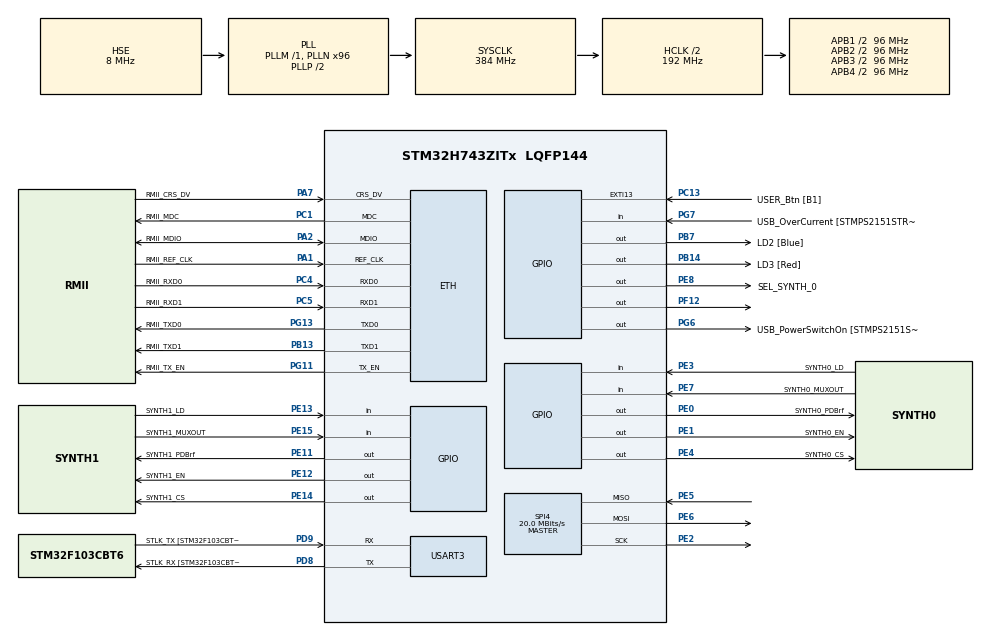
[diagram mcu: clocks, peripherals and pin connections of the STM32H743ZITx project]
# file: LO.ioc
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CORTEX_M7.CPU_DCache=Enabled
ETH.MediaInterface=HAL_ETH_RMII_MODE
FREERTOS.Tasks01=defaultTask,0,128,StartDefaultTask,Default,NULL
HRTIM.Periode_MASTER=192
LWIP.BSP.number=1
LWIP.LWIP_STATS=1
LWIP.MEM_SIZE=2048
LWIP.PBUF_POOL_BUFSIZE=2048
LWIP.Version=v2.0.3_Cube
LWIP0.BSP.STBoard=false
LWIP0.BSP.api=BSP_COMPONENT_DRIVER
LWIP0.BSP.component=LAN8742
LWIP0.BSP.instance=LAN8742
LWIP0.BSP.name=Driver_PHY
LWIP0.BSP.solution=LAN8742
Mcu.Family=STM32H7
Mcu.Name=STM32H743ZITx
Mcu.Package=LQFP144
NVIC.ETH_IRQn=true\:5\:0\:false\:false\:true\:true\:true
NVIC.HRTIM1_Master_IRQn=true\:5\:0\:false\:false\:true\:true\:true
NVIC.PriorityGroup=NVIC_PRIORITYGROUP_4
NVIC.TIM1_UP_IRQn=true\:5\:0\:false\:false\:true\:true\:true
NVIC.TIM2_IRQn=true\:0\:0\:false\:false\:true\:false\:false
NVIC.TimeBase=TIM2_IRQn
NVIC.TimeBaseIP=TIM2
PA1.GPIO_Label=RMII_REF_CLK
PA1.Mode=RMII
PA1.Signal=ETH_REF_CLK
PA13.GPIO_Label=TMS
PA13.Mode=Serial_Wire
PA13.Signal=SYS_JTMS-SWDIO
PA14.GPIO_Label=TCK
PA14.Mode=Serial_Wire
PA14.Signal=SYS_JTCK-SWCLK
PA2.GPIO_Label=RMII_MDIO
PA2.Mode=RMII
PA2.Signal=ETH_MDIO
PA7.GPIO_Label=RMII_CRS_DV
PA7.Mode=RMII
PA7.Signal=ETH_CRS_DV
PB13.GPIO_Label=RMII_TXD1
PB13.Mode=RMII
PB13.Signal=ETH_TXD1
PB14.GPIO_Label=LD3 [Red]
PB14.PinState=GPIO_PIN_SET
PB14.Signal=GPIO_Output
PB7.GPIO_Label=LD2 [Blue]
PB7.PinState=GPIO_PIN_SET
PB7.Signal=GPIO_Output
PC1.GPIO_Label=RMII_MDC
PC1.Mode=RMII
PC1.Signal=ETH_MDC
PC13.GPIO_Label=USER_Btn [B1]
PC13.Signal=GPXTI13
PC4.GPIO_Label=RMII_RXD0
PC4.Mode=RMII
PC4.Signal=ETH_RXD0
PC5.GPIO_Label=RMII_RXD1
PC5.Mode=RMII
PC5.Signal=ETH_RXD1
PD8.GPIO_Label=STLK_RX [STM32F103CBT6_PA3]
PD8.Mode=Asynchronous
PD8.Signal=USART3_TX
PD9.GPIO_Label=STLK_TX [STM32F103CBT6_PA2]
PD9.Mode=Asynchronous
PD9.Signal=USART3_RX
PE0.GPIO_Label=SYNTH0_PDBrf
PE0.Signal=GPIO_Output
PE1.GPIO_Label=SYNTH0_EN
PE1.Signal=GPIO_Output
PE11.GPIO_Label=SYNTH1_PDBrf
PE11.Signal=GPIO_Output
PE12.GPIO_Label=SYNTH1_EN
PE12.Signal=GPIO_Output
PE13.GPIO_Label=SYNTH1_LD
PE13.Signal=GPIO_Input
PE14.GPIO_Label=SYNTH1_CS
PE14.Signal=GPIO_Output
PE15.GPIO_Label=SYNTH1_MUXOUT
PE15.Signal=GPIO_Input
PE2.GPIO_PuPd=GPIO_PULLDOWN
PE2.Mode=Full_Duplex_Master
PE2.Signal=SPI4_SCK
PE3.GPIO_Label=SYNTH0_LD
PE3.Signal=GPIO_Input
PE4.GPIO_Label=SYNTH0_CS
PE4.Signal=GPIO_Output
PE5.Mode=Full_Duplex_Master
PE5.Signal=SPI4_MISO
PE6.Mode=Full_Duplex_Master
PE6.Signal=SPI4_MOSI
PE7.GPIO_Label=SYNTH0_MUXOUT
PE7.Signal=GPIO_Input
PE8.GPIO_Label=SEL_SYNTH_0
PE8.Signal=GPIO_Output
PF12.Signal=GPIO_Output
PG11.GPIO_Label=RMII_TX_EN
PG11.Mode=RMII
PG11.Signal=ETH_TX_EN
PG13.GPIO_Label=RMII_TXD0
PG13.Mode=RMII
PG13.Signal=ETH_TXD0
PG6.GPIO_Label=USB_PowerSwitchOn [STMPS2151STR_EN]
PG6.Signal=GPIO_Output
PG7.GPIO_Label=USB_OverCurrent [STMPS2151STR_FAULT]
PG7.Signal=GPIO_Input
PH0-OSC_IN.GPIO_Label=MCO
PH0-OSC_IN.Mode=HSE-External-Oscillator
PH0-OSC_IN.Signal=RCC_OSC_IN
PH1-OSC_OUT.Mode=HSE-External-Oscillator
PH1-OSC_OUT.Signal=RCC_OSC_OUT
ProjectManager.HeapSize=0x200
ProjectManager.StackSize=0x400
ProjectManager.TargetToolchain=SW4STM32
RCC.48MHZClocksFreq_Value=24000000
RCC.ADCFreq_Value=80000000
RCC.AHBFreq_Value=216000000
RCC.APB1CLKDivider=RCC_HCLK_DIV4
RCC.APB1Freq_Value=96000000
RCC.APB1TimFreq_Value=108000000
RCC.APB2CLKDivider=RCC_HCLK_DIV2
RCC.APB2Freq_Value=96000000
RCC.APB2TimFreq_Value=216000000
RCC.APB3Freq_Value=96000000
RCC.APB4Freq_Value=96000000
RCC.CortexFreq_Value=384000000
RCC.D1PPRE=RCC_APB3_DIV2
RCC.D2PPRE1=RCC_APB1_DIV2
RCC.D2PPRE2=RCC_APB2_DIV2
RCC.D3PPRE=RCC_APB4_DIV2
RCC.DIVM1=1
RCC.DIVM2=1
RCC.DIVN1=96
RCC.DIVN2=20
RCC.DIVQ1=4
RCC.DIVQ2=4
RCC.HCLKFreq_Value=192000000
RCC.HPRE=RCC_HCLK_DIV2
RCC.HSE_VALUE=8000000
RCC.HSI_VALUE=64000000
RCC.PLLM=25
RCC.PLLMUL=RCC_PLL_MUL9
RCC.PLLN=432
RCC.PLLQ=9
RCC.PLLSourceVirtual=RCC_PLLSOURCE_HSE
RCC.PRESCALERUSB=RCC_USBCLKSOURCE_PLL_DIV1_5
RCC.SYSCLKFreq_VALUE=384000000
RCC.SYSCLKSource=RCC_SYSCLKSOURCE_PLLCLK
RCC.SYSCLKSourceVirtual=RCC_SYSCLKSOURCE_PLLCLK
RCC.Spi45ClockSelection=RCC_SPI45CLKSOURCE_PLL2
RCC.USBFreq_Value=192000000
RCC.VCOOutputFreq_Value=432000000
SPI4.BaudRatePrescaler=SPI_BAUDRATEPRESCALER_2
SPI4.CLKPhase=SPI_PHASE_1EDGE
SPI4.CLKPolarity=SPI_POLARITY_LOW
SPI4.CalculateBaudRate=20.0 MBits/s
SPI4.DataSize=SPI_DATASIZE_8BIT
SPI4.Direction=SPI_DIRECTION_2LINES
SPI4.FifoThreshold=SPI_FIFO_THRESHOLD_04DATA
SPI4.Mode=SPI_MODE_MASTER
SPI4.NSSPMode=SPI_NSS_PULSE_DISABLE
SPI4.VirtualType=VM_MASTER
TIM1.CounterMode=TIM_COUNTERMODE_DOWN
TIM1.Period=10 - 1
TIM1.Prescaler=1920 - 1
USART3.VirtualMode-Asynchronous=VM_ASYNC
VP_FREERTOS_VS_ENABLE.Mode=Enabled
VP_HRTIM_VS_hrtimMasterTimerNoOutput.Mode=MasterTimer
VP_LWIP_VS_Enabled.Mode=Enabled
VP_MBEDTLS_VS_MBEDTLS.Mode=Enabled
VP_SYS_VS_tim2.Mode=TIM2
VP_SYS_V_PVD_IN.Mode=Mode_PVD_Int
VP_TIM1_VS_ClockSourceINT.Mode=Internal
board=NUCLEO-H743ZI

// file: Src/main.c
/**
  ******************************************************************************
  * @file           : main.c
  * @brief          : Main program body
  ******************************************************************************
  * This notice applies to any and all portions of this file
  * that are not between comment pairs USER CODE BEGIN and
  * USER CODE END. Other portions of this file, whether
  * inserted by the user or by software development tools
  * are owned by their respective copyright owners.
  *
  * Copyright (c) 2019 STMicroelectronics International N.V.
  * All rights reserved.
  *
  * Redistribution and use in source and binary forms, with or without
  * modification, are permitted, provided that the following conditions are met:
  *
  * 1. Redistribution of source code must retain the above copyright notice,
  *    this list of conditions and the following disclaimer.
  * 2. Redistributions in binary form must reproduce the above copyright notice,
  *    this list of conditions and the following disclaimer in the documentation
  *    and/or other materials provided with the distribution.
  * 3. Neither the name of STMicroelectronics nor the names of other
  *    contributors to this software may be used to endorse or promote products
  *    derived from this software without specific written permission.
  * 4. This software, including modifications and/or derivative works of this
  *    software, must execute solely and exclusively on microcontroller or
  *    microprocessor devices manufactured by or for STMicroelectronics.
  * 5. Redistribution and use of this software other than as permitted under
  *    this license is void and will automatically terminate your rights under
  *    this license.
  *
  * THIS SOFTWARE IS PROVIDED BY STMICROELECTRONICS AND CONTRIBUTORS "AS IS"
  * AND ANY EXPRESS, IMPLIED OR STATUTORY WARRANTIES, INCLUDING, BUT NOT
  * LIMITED TO, THE IMPLIED WARRANTIES OF MERCHANTABILITY, FITNESS FOR A
  * PARTICULAR PURPOSE AND NON-INFRINGEMENT OF THIRD PARTY INTELLECTUAL PROPERTY
  * RIGHTS ARE DISCLAIMED TO THE FULLEST EXTENT PERMITTED BY LAW. IN NO EVENT
  * SHALL STMICROELECTRONICS OR CONTRIBUTORS BE LIABLE FOR ANY DIRECT, INDIRECT,
  * INCIDENTAL, SPECIAL, EXEMPLARY, OR CONSEQUENTIAL DAMAGES (INCLUDING, BUT NOT
  * LIMITED TO, PROCUREMENT OF SUBSTITUTE GOODS OR SERVICES; LOSS OF USE, DATA,
  * OR PROFITS; OR BUSINESS INTERRUPTION) HOWEVER CAUSED AND ON ANY THEORY OF
  * LIABILITY, WHETHER IN CONTRACT, STRICT LIABILITY, OR TORT (INCLUDING
  * NEGLIGENCE OR OTHERWISE) ARISING IN ANY WAY OUT OF THE USE OF THIS SOFTWARE,
  * EVEN IF ADVISED OF THE POSSIBILITY OF SUCH DAMAGE.
  *
  ******************************************************************************
  */
#include "main.h"
#include "stm32h7xx_hal.h"
#include "cmsis_os.h"
#include "hrtim.h"
#include "mbedtls.h"
#include "spi.h"
#include "tim.h"
#include "usart.h"
#include "gpio.h"

/* USER CODE BEGIN Includes */
#include "synthesizer_driver.h"
/* USER CODE END Includes */

/* USER CODE BEGIN PV */
/* Private variables ---------------------------------------------------------*/

/* USER CODE END PV */

void SystemClock_Config(void);
void MX_FREERTOS_Init(void);

/* USER CODE BEGIN PFP */
/* Private function prototypes -----------------------------------------------*/
void MPU_Config(void);
/* USER CODE END PFP */

int main(void)
{
  /* USER CODE BEGIN 1 */
   MPU_Config();
  /* USER CODE END 1 */

  /* Enable D-Cache-------------------------------------------------------------*/
  SCB_EnableDCache();

  /* MCU Configuration----------------------------------------------------------*/

  /* Reset of all peripherals, Initializes the Flash interface and the Systick. */
  HAL_Init();

  /* Configure the system clock */
  SystemClock_Config();

  /* Initialize all configured peripherals */
  MX_GPIO_Init();
  MX_USART3_UART_Init();
  MX_TIM1_Init();
  MX_SPI4_Init();
  MX_HRTIM_Init();
  /* USER CODE BEGIN 2 */
  Is_counting = false;

  //HAL_HRTIM_SimpleBaseStart( &hhrtim, HRTIM_TIMERINDEX_MASTER );
  //HAL_HRTIM_SimpleBaseStart_IT( &hhrtim, HRTIM_TIMERINDEX_MASTER );
  init_synth();
  HAL_TIM_Base_Start( &htim1 );

  while ( 1 )
  {
    uint8_t i = 0;

    for ( i = 0; i < NUM_FREQUENCIES; i++ )
    {
      //while ( HAL_GPIO_ReadPin( GPIOE, SYNTH0_LD_Pin ) == 0 );
      set_synth_frequency( Frequencies_mhz[ i ], Synth_0_ss_id );
      set_synth_frequency( Frequencies_mhz[ i ], Synth_1_ss_id );

                uint32_t j = 0;
          while ( j < 10000 )
          {
            j++;
          }
    }
  }

  //set_synth_frequency( 3400, Synth_0_ss_id );
  //set_synth_frequency( 3400, Synth_1_ss_id );

  //HAL_HRTIM_SimpleBaseStart_IT( &hhrtim, HRTIM_TIMERINDEX_MASTER );
  /*
  while ( 1 )
  {
    while ( Is_counting );
    Counter_us = 500;
    Is_counting = true;
  }
  */

  /* USER CODE END 2 */

  /* Call init function for freertos objects (in freertos.c) */
  MX_FREERTOS_Init();

  /* Start scheduler */
  osKernelStart();

  /* We should never get here as control is now taken by the scheduler */

  /* Infinite loop */
  while (1)
  {
  }

}

void SystemClock_Config(void)
{

  RCC_OscInitTypeDef RCC_OscInitStruct;
  RCC_ClkInitTypeDef RCC_ClkInitStruct;
  RCC_PeriphCLKInitTypeDef PeriphClkInitStruct;

    /**Supply configuration update enable
    */
  MODIFY_REG(PWR->CR3, PWR_CR3_SCUEN, 0);

    /**Configure the main internal regulator output voltage
    */
  __HAL_PWR_VOLTAGESCALING_CONFIG(PWR_REGULATOR_VOLTAGE_SCALE1);

  while ((PWR->D3CR & (PWR_D3CR_VOSRDY)) != PWR_D3CR_VOSRDY)
  {

  }
    /**Macro to configure the PLL clock source
    */
  __HAL_RCC_PLL_PLLSOURCE_CONFIG(RCC_PLLSOURCE_HSE);

    /**Initializes the CPU, AHB and APB busses clocks
    */
  RCC_OscInitStruct.OscillatorType = RCC_OSCILLATORTYPE_HSE;
  RCC_OscInitStruct.HSEState = RCC_HSE_ON;
  RCC_OscInitStruct.PLL.PLLState = RCC_PLL_ON;
  RCC_OscInitStruct.PLL.PLLSource = RCC_PLLSOURCE_HSE;
  RCC_OscInitStruct.PLL.PLLM = 1;
  RCC_OscInitStruct.PLL.PLLN = 96;
  RCC_OscInitStruct.PLL.PLLP = 2;
  RCC_OscInitStruct.PLL.PLLQ = 4;
  RCC_OscInitStruct.PLL.PLLR = 2;
  RCC_OscInitStruct.PLL.PLLRGE = RCC_PLL1VCIRANGE_3;
  RCC_OscInitStruct.PLL.PLLVCOSEL = RCC_PLL1VCOWIDE;
  RCC_OscInitStruct.PLL.PLLFRACN = 0;
  if (HAL_RCC_OscConfig(&RCC_OscInitStruct) != HAL_OK)
  {
    _Error_Handler(__FILE__, __LINE__);
  }

    /**Initializes the CPU, AHB and APB busses clocks
    */
  RCC_ClkInitStruct.ClockType = RCC_CLOCKTYPE_HCLK|RCC_CLOCKTYPE_SYSCLK
                              |RCC_CLOCKTYPE_PCLK1|RCC_CLOCKTYPE_PCLK2
                              |RCC_CLOCKTYPE_D3PCLK1|RCC_CLOCKTYPE_D1PCLK1;
  RCC_ClkInitStruct.SYSCLKSource = RCC_SYSCLKSOURCE_PLLCLK;
  RCC_ClkInitStruct.SYSCLKDivider = RCC_SYSCLK_DIV1;
  RCC_ClkInitStruct.AHBCLKDivider = RCC_HCLK_DIV2;
  RCC_ClkInitStruct.APB3CLKDivider = RCC_APB3_DIV2;
  RCC_ClkInitStruct.APB1CLKDivider = RCC_APB1_DIV2;
  RCC_ClkInitStruct.APB2CLKDivider = RCC_APB2_DIV2;
  RCC_ClkInitStruct.APB4CLKDivider = RCC_APB4_DIV2;

  if (HAL_RCC_ClockConfig(&RCC_ClkInitStruct, FLASH_LATENCY_2) != HAL_OK)
  {
    _Error_Handler(__FILE__, __LINE__);
  }

  PeriphClkInitStruct.PeriphClockSelection = RCC_PERIPHCLK_HRTIM1|RCC_PERIPHCLK_USART3
                              |RCC_PERIPHCLK_SPI4;
  PeriphClkInitStruct.PLL2.PLL2M = 1;
  PeriphClkInitStruct.PLL2.PLL2N = 20;
  PeriphClkInitStruct.PLL2.PLL2P = 2;
  PeriphClkInitStruct.PLL2.PLL2Q = 4;
  PeriphClkInitStruct.PLL2.PLL2R = 2;
  PeriphClkInitStruct.PLL2.PLL2RGE = RCC_PLL2VCIRANGE_3;
  PeriphClkInitStruct.PLL2.PLL2VCOSEL = RCC_PLL2VCOMEDIUM;
  PeriphClkInitStruct.PLL2.PLL2FRACN = 0;
  PeriphClkInitStruct.Spi45ClockSelection = RCC_SPI45CLKSOURCE_PLL2;
  PeriphClkInitStruct.Usart234578ClockSelection = RCC_USART234578CLKSOURCE_D2PCLK1;
  PeriphClkInitStruct.Hrtim1ClockSelection = RCC_HRTIM1CLK_TIMCLK;
  if (HAL_RCCEx_PeriphCLKConfig(&PeriphClkInitStruct) != HAL_OK)
  {
    _Error_Handler(__FILE__, __LINE__);
  }

    /**Configure the Systick interrupt time
    */
  HAL_SYSTICK_Config(SystemCoreClock/1000);

    /**Configure the Systick
    */
  HAL_SYSTICK_CLKSourceConfig(SYSTICK_CLKSOURCE_HCLK);

  /* SysTick_IRQn interrupt configuration */
  HAL_NVIC_SetPriority(SysTick_IRQn, 15, 0);
}

/* USER CODE BEGIN 4 */
/**
  * @brief  Configure the MPU attributes
  * @param  None
  * @retval None
  */

void MPU_Config(void)
{
  MPU_Region_InitTypeDef MPU_InitStruct;

  /* Disables the MPU */
  HAL_MPU_Disable();
  /**Initializes and configures the Region and the memory to be protected
  */
  MPU_InitStruct.Enable = MPU_REGION_ENABLE;
  MPU_InitStruct.Number = MPU_REGION_NUMBER2;
  MPU_InitStruct.BaseAddress = 0x30040000;
  MPU_InitStruct.Size = MPU_REGION_SIZE_256B;
  MPU_InitStruct.SubRegionDisable = 0x0;
  MPU_InitStruct.TypeExtField = MPU_TEX_LEVEL0;
  MPU_InitStruct.AccessPermission = MPU_REGION_FULL_ACCESS;
  MPU_InitStruct.DisableExec = MPU_INSTRUCTION_ACCESS_ENABLE;
  MPU_InitStruct.IsShareable = MPU_ACCESS_NOT_SHAREABLE;
  MPU_InitStruct.IsCacheable = MPU_ACCESS_NOT_CACHEABLE;
  MPU_InitStruct.IsBufferable = MPU_ACCESS_BUFFERABLE;

  HAL_MPU_ConfigRegion(&MPU_InitStruct);

  /**Initializes and configures the Region and the memory to be protected
  */
  MPU_InitStruct.Enable = MPU_REGION_ENABLE;
  MPU_InitStruct.Number = MPU_REGION_NUMBER1;
  MPU_InitStruct.BaseAddress = 0x30044000;
  MPU_InitStruct.Size = MPU_REGION_SIZE_16KB;
  MPU_InitStruct.SubRegionDisable = 0x0;
  MPU_InitStruct.TypeExtField = MPU_TEX_LEVEL0;
  MPU_InitStruct.AccessPermission = MPU_REGION_FULL_ACCESS;
  MPU_InitStruct.DisableExec = MPU_INSTRUCTION_ACCESS_ENABLE;
  MPU_InitStruct.IsShareable = MPU_ACCESS_NOT_SHAREABLE;
  MPU_InitStruct.IsCacheable = MPU_ACCESS_CACHEABLE;
  MPU_InitStruct.IsBufferable = MPU_ACCESS_NOT_BUFFERABLE;

  HAL_MPU_ConfigRegion(&MPU_InitStruct);

  MPU_InitStruct.Enable = MPU_REGION_ENABLE;
  MPU_InitStruct.Number = MPU_REGION_NUMBER0;
  MPU_InitStruct.BaseAddress = 0x30040000;
  MPU_InitStruct.Size = MPU_REGION_SIZE_16KB;
  MPU_InitStruct.SubRegionDisable = 0x0;
  MPU_InitStruct.TypeExtField = MPU_TEX_LEVEL1;
  MPU_InitStruct.AccessPermission = MPU_REGION_FULL_ACCESS;
  MPU_InitStruct.DisableExec = MPU_INSTRUCTION_ACCESS_ENABLE;
  MPU_InitStruct.IsShareable = MPU_ACCESS_NOT_SHAREABLE;
  MPU_InitStruct.IsCacheable = MPU_ACCESS_NOT_CACHEABLE;
  MPU_InitStruct.IsBufferable = MPU_ACCESS_NOT_BUFFERABLE;

  HAL_MPU_ConfigRegion(&MPU_InitStruct);

  /* Enables the MPU */
  HAL_MPU_Enable(MPU_PRIVILEGED_DEFAULT);
}
/* USER CODE END 4 */

void HAL_TIM_PeriodElapsedCallback(TIM_HandleTypeDef *htim)
{
  if (htim->Instance == TIM2) {
    HAL_IncTick();
  }
}

void _Error_Handler(char *file, int line)
{
  while(1)
  {
  }
}

/************************ (C) COPYRIGHT STMicroelectronics *****END OF FILE****/

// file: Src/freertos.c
/* USER CODE BEGIN Header */
/**
  ******************************************************************************
  * File Name          : freertos.c
  * Description        : Code for freertos applications
  ******************************************************************************
  * This notice applies to any and all portions of this file
  * that are not between comment pairs USER CODE BEGIN and
  * USER CODE END. Other portions of this file, whether
  * inserted by the user or by software development tools
  * are owned by their respective copyright owners.
  *
  * Copyright (c) 2018 STMicroelectronics International N.V.
  * All rights reserved.
  *
  * Redistribution and use in source and binary forms, with or without
  * modification, are permitted, provided that the following conditions are met:
  *
  * 1. Redistribution of source code must retain the above copyright notice,
  *    this list of conditions and the following disclaimer.
  * 2. Redistributions in binary form must reproduce the above copyright notice,
  *    this list of conditions and the following disclaimer in the documentation
  *    and/or other materials provided with the distribution.
  * 3. Neither the name of STMicroelectronics nor the names of other
  *    contributors to this software may be used to endorse or promote products
  *    derived from this software without specific written permission.
  * 4. This software, including modifications and/or derivative works of this
  *    software, must execute solely and exclusively on microcontroller or
  *    microprocessor devices manufactured by or for STMicroelectronics.
  * 5. Redistribution and use of this software other than as permitted under
  *    this license is void and will automatically terminate your rights under
  *    this license.
  *
  * THIS SOFTWARE IS PROVIDED BY STMICROELECTRONICS AND CONTRIBUTORS "AS IS"
  * AND ANY EXPRESS, IMPLIED OR STATUTORY WARRANTIES, INCLUDING, BUT NOT
  * LIMITED TO, THE IMPLIED WARRANTIES OF MERCHANTABILITY, FITNESS FOR A
  * PARTICULAR PURPOSE AND NON-INFRINGEMENT OF THIRD PARTY INTELLECTUAL PROPERTY
  * RIGHTS ARE DISCLAIMED TO THE FULLEST EXTENT PERMITTED BY LAW. IN NO EVENT
  * SHALL STMICROELECTRONICS OR CONTRIBUTORS BE LIABLE FOR ANY DIRECT, INDIRECT,
  * INCIDENTAL, SPECIAL, EXEMPLARY, OR CONSEQUENTIAL DAMAGES (INCLUDING, BUT NOT
  * LIMITED TO, PROCUREMENT OF SUBSTITUTE GOODS OR SERVICES; LOSS OF USE, DATA,
  * OR PROFITS; OR BUSINESS INTERRUPTION) HOWEVER CAUSED AND ON ANY THEORY OF
  * LIABILITY, WHETHER IN CONTRACT, STRICT LIABILITY, OR TORT (INCLUDING
  * NEGLIGENCE OR OTHERWISE) ARISING IN ANY WAY OUT OF THE USE OF THIS SOFTWARE,
  * EVEN IF ADVISED OF THE POSSIBILITY OF SUCH DAMAGE.
  *
  ******************************************************************************
  */
/* USER CODE END Header */

#include "FreeRTOS.h"
#include "task.h"
#include "main.h"
#include "cmsis_os.h"

/* USER CODE BEGIN Includes */
#include "lwip.h"
#include "lwip/apps/mqtt.h"
#include <string.h>
#include "tim.h"
#include "trigger.h"
#include "synthesizer_driver.h"
#include "hrtim.h"
/* USER CODE END Includes */

/* USER CODE BEGIN PTD */
ip4_addr_t Mcfly_broker_addr;
mqtt_client_t* Mcfly_broker;

/* USER CODE END PTD */

/* USER CODE BEGIN Variables */
uint8_t Trigger_flag = 0;
const char* Phase_idx;
QueueHandle_t Cell_sequence_q;
/* USER CODE END Variables */
osThreadId defaultTaskHandle;

/* USER CODE BEGIN FunctionPrototypes */
void example_do_connect(mqtt_client_t *client);
static void mqtt_connection_cb(mqtt_client_t *client, void *arg, mqtt_connection_status_t status);
static void mqtt_sub_request_cb(void *arg, err_t result);
static void mqtt_incoming_publish_cb(void *arg, const char *topic, u32_t tot_len);
static void mqtt_incoming_data_cb(void *arg, const u8_t *data, u16_t len, u8_t flags);
void example_publish(mqtt_client_t *client, void *arg);
static void mqtt_pub_request_cb(void *arg, err_t result);

void MQTTTask(void const * argument);
void Synth_sequence_task( void const * argument );

void one_shot_delay_us( uint32_t Delay_us );
/* USER CODE END FunctionPrototypes */

void StartDefaultTask(void const * argument);

extern void MX_MBEDTLS_Init(void);
extern void MX_LWIP_Init(void);
void MX_FREERTOS_Init(void); /* (MISRA C 2004 rule 8.1) */

void MX_FREERTOS_Init(void) {
  /* USER CODE BEGIN Init */
  IP4_ADDR( &Mcfly_broker_addr, 192, 168, 0, 10 );
  /* USER CODE END Init */

  /* Create the thread(s) */
  /* definition and creation of defaultTask */
  //osThreadDef(defaultTask, StartDefaultTask, osPriorityNormal, 0, 128);
  //defaultTaskHandle = osThreadCreate(osThread(defaultTask), NULL);

  /* USER CODE BEGIN RTOS_THREADS */
  /* add threads, ... */
  osThreadDef(MQTT, MQTTTask, osPriorityNormal, 0, 128 * 4 );
  MQTTTaskHandle = osThreadCreate(osThread(MQTT), NULL);

  //osThreadDef(Synth_sequence, Synth_sequence_task, osPriorityNormal, 0, 128 * 4 );
  //SynthSequenceTaskHandle = osThreadCreate(osThread(Synth_sequence), NULL);
  /* USER CODE END RTOS_THREADS */

}

void StartDefaultTask(void const * argument)
{
  /* Up to user define the empty MX_MBEDTLS_Init() function located in mbedtls.c file */
  MX_MBEDTLS_Init();

  /* MX_LWIP_Init() is generated within mbedtls_net_init() function in net_cockets.c file */
  /* Up to user to call mbedtls_net_init() function in MBEDTLS initialization step */

  /* USER CODE BEGIN StartDefaultTask */
  //MX_LWIP_Init();

  //IP4_ADDR( &client1IpAddr, 192, 168, 0, 10 );
  //mqtt_client_t client1;
  //example_do_connect( &client1 );
  //example_publish( &client1, NULL);
  /* Infinite loop */
  for(;;)
  {
    osDelay(1);
  }
  /* USER CODE END StartDefaultTask */
}

/* USER CODE BEGIN Application */
void MQTTTask(void const * argument)
{
  MX_LWIP_Init();

  Mcfly_broker = mqtt_client_new();
  if ( Mcfly_broker == NULL )
  {
    printf("MQTT client NULL.\n");
  }
  example_do_connect( Mcfly_broker );
  Cell_sequence_q = xQueueCreate( 1, sizeof( uint8_t ) );
  //HAL_HRTIM_SimpleBaseStart_IT( &hhrtim, HRTIM_TIMERINDEX_MASTER );
  /* Infinite loop */
  for(;;)
  {
    if ( Trigger_flag == 1 )
    {
      //HAL_TIM_Base_Start_IT( &htim1 );
      //vTaskResume( SynthSequenceTaskHandle );
      //vTaskSuspend( MQTTTaskHandle );

      int err = mqtt_publish(Mcfly_broker, "/Sensor/Freq", Phase_idx, strlen( Phase_idx ), 2, 0, mqtt_pub_request_cb, NULL);
      if(err != ERR_OK) {
        printf("Publish err: %d\n", err);
      }
      Trigger_flag = 0;
      example_do_connect( Mcfly_broker );
    }
    //example_publish( client1, NULL);
    //osDelay(5000);
  }
  /* USER CODE END StartDefaultTask */
}

void example_do_connect(mqtt_client_t *client)
{
  struct mqtt_connect_client_info_t ci;
  err_t err;

  /* Setup an empty client info structure */
  memset(&ci, 0, sizeof(ci));

  /* Minimal amount of information required is client identifier, so set it here */
  ci.client_id = "lwip_test";

  /* Initiate client and connect to server, if this fails immediately an error code is returned
     otherwise mqtt_connection_cb will be called with connection result after attempting
     to establish a connection with the server.
     For now MQTT version 3.1.1 is always used */

  err = mqtt_client_connect(client, &Mcfly_broker_addr, MQTT_PORT, mqtt_connection_cb, 0, &ci);

  /* For now just print the result code if something goes wrong */
  while(err != ERR_OK) {
    printf("mqtt_connect return %d\n", err);
    err = mqtt_client_connect(client, &Mcfly_broker_addr, MQTT_PORT, mqtt_connection_cb, 0, &ci);
  }
}

static void mqtt_connection_cb(mqtt_client_t *client, void *arg, mqtt_connection_status_t status)
{
  err_t err;
  if(status == MQTT_CONNECT_ACCEPTED) {
    printf("mqtt_connection_cb: Successfully connected\n");

    /* Setup callback for incoming publish requests */
    mqtt_set_inpub_callback(client, mqtt_incoming_publish_cb, mqtt_incoming_data_cb, arg);

    /* Subscribe to a topic named "/Sensor/Density/Trigger" with QoS level 0, call mqtt_sub_request_cb with result */
    err = mqtt_subscribe(client, "/Sensor/Density/Trigger", 0, mqtt_sub_request_cb, arg);

    if(err != ERR_OK) {
      printf("mqtt_subscribe return: %d\n", err);
    }
  } else {
    printf("mqtt_connection_cb: Disconnected, reason: %d\n", status);

    /* Its more nice to be connected, so try to reconnect */
    example_do_connect(client);
  }
}

static void mqtt_sub_request_cb(void *arg, err_t result)
{
  /* Just print the result code here for simplicity,
     normal behaviour would be to take some action if subscribe fails like
     notifying user, retry subscribe or disconnect from server */
  printf("Subscribe result: %d\n", result);
}

static int inpub_id;
static void mqtt_incoming_publish_cb(void *arg, const char *topic, u32_t tot_len)
{
  printf("Incoming publish at topic %s with total length %u\n", topic, (unsigned int)tot_len);

  /* Decode topic string into a user defined reference */
  if(strcmp(topic, "/Sensor/Density/Trigger") == 0) {
    inpub_id = 0;
  } else if(topic[0] == 'A') {
    /* All topics starting with 'A' might be handled at the same way */
    inpub_id = 1;
  } else {
    /* For all other topics */
    inpub_id = 2;
  }
}

static void mqtt_incoming_data_cb(void *arg, const u8_t *data, u16_t len, u8_t flags)
{
  printf("Incoming publish payload with length %d, flags %u\n", len, (unsigned int)flags);

  if(flags & MQTT_DATA_FLAG_LAST) {
    /* Last fragment of payload received (or whole part if payload fits receive buffer
       See MQTT_VAR_HEADER_BUFFER_LEN)  */

    /* Call function or do action depending on reference, in this case inpub_id */
    if(inpub_id == 0) {
      //Trigger_flag = 1;
      Phase_idx = (const char *)data;
      if ( strstr( (const char *)data, "Phase_" ) && strlen( (const char *)data ) == 7 )
      {
        uint8_t Phase_num = (uint8_t)( (uint8_t)Phase_idx[ 6 ] - (uint8_t)'0' );
        if ( Phase_num < NUM_PHASES )
        {
          Trigger_flag = 1;

          xQueueSend( Cell_sequence_q, ( void * ) &Trigger_flag, 0 );
          vTaskResume( SynthSequenceTaskHandle );
          vTaskSuspend( MQTTTaskHandle );
        }
      }

    } else if(inpub_id == 1) {
      /* Call an 'A' function... */
    } else {
      printf("mqtt_incoming_data_cb: Ignoring payload...\n");
      Trigger_flag = 0;
    }
  } else {
    /* Handle fragmented payload, store in buffer, write to file or whatever */
  }
}

void example_publish(mqtt_client_t *client, void *arg)
{
  const char *pub_payload= "Hello from stm32";
  err_t err;
  u8_t qos = 2; /* 0 1 or 2, see MQTT specification */
  u8_t retain = 0; /* No don't retain such crappy payload... */
  err = mqtt_publish(client, "pub_topic", pub_payload, strlen(pub_payload), qos, retain, mqtt_pub_request_cb, arg);
  if(err != ERR_OK) {
    printf("Publish err: %d\n", err);
  }
}

/* Called when publish is complete either with sucess or failure */
static void mqtt_pub_request_cb(void *arg, err_t result)
{
  if(result != ERR_OK) {
    printf("Publish result: %d\n", result);
  }
}

typedef enum {
    e_synth_state_Standby
  , e_synth_state_0_on
  , e_synth_state_1_on
} e_synth_state;

void Synth_sequence_task( void const * argument )
{
  static e_synth_state State = e_synth_state_Standby;
  static uint8_t Frequency_idx = 0;
  uint8_t Trigger;
  //uint32_t Delay = 80000000;

  for(;;)
  {
    switch ( State )
    {
      case e_synth_state_Standby:
      {
        if ( Cell_sequence_q != 0 )
        {
          if ( xQueuePeek( Cell_sequence_q, &( Trigger ), 0 ) )
          {
            State = e_synth_state_0_on;
            Frequency_idx = 0;
            set_synth_frequency( Frequencies_mhz[ Frequency_idx ], Synth_0_ss_id );
            HAL_HRTIM_SimpleBaseStart_IT( &hhrtim, HRTIM_TIMERINDEX_MASTER );
            //vQueueDelete( Cell_sequence_q );
          }
        } else
        {
          vTaskResume( MQTTTaskHandle );
          vTaskSuspend( SynthSequenceTaskHandle );
        }
      }
      break;
      case e_synth_state_0_on:
      {
        if ( HAL_GPIO_ReadPin( GPIOE, SYNTH0_LD_Pin ) == 1 )
        {
          HAL_GPIO_WritePin( GPIOE, SEL_SYNTH_0_Pin, SET );
          /*
          uint32_t i = 0;
          while ( i < Delay )
          {
            i++;
          }
          */
          Frequency_idx++;

          if ( Frequency_idx < NUM_FREQUENCIES )
          {
            set_synth_frequency( Frequencies_mhz[ Frequency_idx ], Synth_1_ss_id );

            State = e_synth_state_1_on;
          } else
          {
            one_shot_delay_us( 800000 );
            vTaskSuspend( SynthSequenceTaskHandle );

            State = e_synth_state_Standby;
            vTaskResume( MQTTTaskHandle );
            vTaskSuspend( SynthSequenceTaskHandle );
            HAL_HRTIM_SimpleBaseStop_IT( &hhrtim, HRTIM_TIMERINDEX_MASTER );
            break;
          }

          one_shot_delay_us( 800000 );
          vTaskSuspend( SynthSequenceTaskHandle );
        }
      }
      break;
      case e_synth_state_1_on:
      {
        if ( HAL_GPIO_ReadPin( GPIOE, SYNTH1_LD_Pin ) == 1 )
        {
          HAL_GPIO_WritePin( GPIOE, SEL_SYNTH_0_Pin, RESET );
          /*
          uint32_t i = 0;
          while ( i < Delay )
          {
            i++;
          }
          */
          Frequency_idx++;

          if ( Frequency_idx < NUM_FREQUENCIES )
          {
            set_synth_frequency( Frequencies_mhz[ Frequency_idx ], Synth_0_ss_id );

            State = e_synth_state_0_on;
          } else
          {
            one_shot_delay_us( 800000 );
            vTaskSuspend( SynthSequenceTaskHandle );

            State = e_synth_state_Standby;
            vTaskResume( MQTTTaskHandle );
            vTaskSuspend( SynthSequenceTaskHandle );
            HAL_HRTIM_SimpleBaseStop_IT( &hhrtim, HRTIM_TIMERINDEX_MASTER );
            break;
          }
          one_shot_delay_us( 800000 );
          vTaskSuspend( SynthSequenceTaskHandle );

        }
      }
    }
  }
}

void one_shot_delay_us( uint32_t Delay_us )
{
  while ( Is_counting );
  Counter_us = Delay_us;
  Is_counting = true;
  //HAL_HRTIM_SimpleBaseStart_IT( &hhrtim, HRTIM_TIMERINDEX_MASTER );
}

/* USER CODE END Application */

/************************ (C) COPYRIGHT STMicroelectronics *****END OF FILE****/
